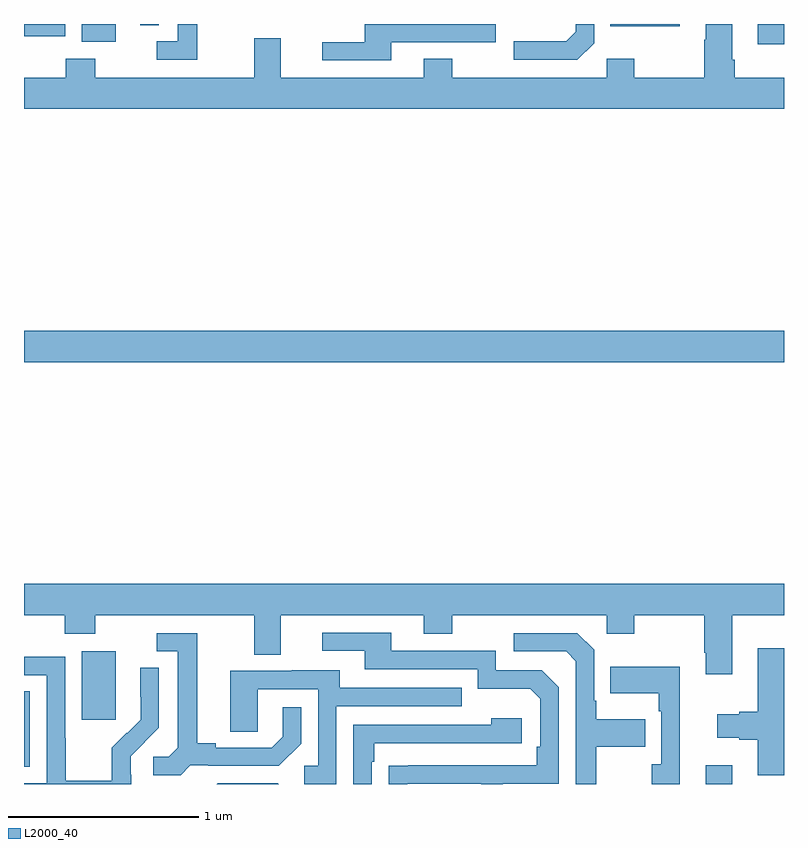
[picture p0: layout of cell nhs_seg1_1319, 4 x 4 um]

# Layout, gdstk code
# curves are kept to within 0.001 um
import gdstk
lib = gdstk.Library(unit=1e-6, precision=1e-09)
def R(c, l, rs):  # rectangles x0, y0, x1, y1
    for r in rs: c.add(gdstk.rectangle(r[:2], r[2:], *l))
def P(c, l, *ps):  # polygons
    for p in ps: c.add(gdstk.Polygon(p, *l))
L2000_40 = (2000, 40)

nhs_seg1_1319 = lib.new_cell('nhs_seg1_1319')
R(nhs_seg1_1319, L2000_40, [(186.587,528.199,186.727,528.298), (183,528.289,183.031,528.686), (183.305,528.537,183.484,528.898), (183,530.42,187,530.584), (186.863,532.092,187,532.199), (183.305,532.106,183.484,532.199), (183,532.135,183.216,532.199), (186.085,532.187,186.452,532.199), (183.612,532.192,183.708,532.199)])
P(nhs_seg1_1319, L2000_40, [(187,531.916),(186.74,531.916),(186.74,532.012),(186.727,532.012),(186.727,532.199),(186.587,532.199),(186.587,532.115),(186.58,532.115),(186.58,531.916),(186.213,531.916),(186.213,532.015),(186.066,532.015),(186.066,531.916),(185.253,531.916),(185.253,532.015),(185.105,532.015),(185.105,531.916),(184.351,531.916),(184.351,532.124),(184.211,532.124),(184.211,531.916),(183.375,531.916),(183.375,532.015),(183.22,532.015),(183.22,531.916),(183,531.916),(183,531.752),(187,531.752)],
  [(186,532.098),(186,532.199),(185.904,532.199),(185.904,532.158),(185.853,532.107),(185.577,532.107),(185.577,532.011),(185.913,532.011)],
  [(184.933,532.104),(185.484,532.104),(185.484,532.199),(184.793,532.199),(184.793,532.104),(184.569,532.104),(184.569,532.008),(184.933,532.008)],
  [(183.913,532.199),(183.809,532.199),(183.809,532.107),(183.699,532.107),(183.699,532.011),(183.913,532.011)],
  [(186.727,529.088),(187,529.088),(187,529.252),(183,529.252),(183,529.088),(183.215,529.088),(183.215,528.989),(183.375,528.989),(183.375,529.088),(184.211,529.088),(184.211,528.88),(184.351,528.88),(184.351,529.088),(185.105,529.088),(185.105,528.989),(185.253,528.989),(185.253,529.088),(186.066,529.088),(186.066,528.989),(186.213,528.989),(186.213,529.088),(186.58,529.088),(186.58,528.889),(186.587,528.889),(186.587,528.777),(186.727,528.777)],
  [(185.017,528.201),(185.407,528.201),(185.407,528.199),(185.519,528.199),(185.519,528.201),(185.814,528.201),(185.814,528.708),(185.724,528.798),(185.484,528.798),(185.484,528.9),(184.933,528.9),(184.933,528.996),(184.569,528.996),(184.569,528.9),(184.793,528.9),(184.793,528.804),(185.388,528.804),(185.388,528.701),(185.665,528.701),(185.718,528.648),(185.718,528.394),(185.698,528.394),(185.698,528.297),(184.921,528.296),(184.921,528.199),(185.017,528.199)],
  [(186.013,528.394),(186.269,528.394),(186.269,528.541),(186.013,528.541),(186.013,528.637),(186,528.637),(186,528.906),(185.913,528.993),(185.577,528.993),(185.577,528.897),(185.853,528.897),(185.904,528.846),(185.904,528.199),(186.013,528.199)],
  [(183.876,528.297),(183.97,528.297),(183.97,528.294),(184.342,528.294),(184.458,528.41),(184.458,528.604),(184.361,528.604),(184.361,528.447),(184.304,528.39),(184.009,528.39),(184.009,528.413),(183.913,528.413),(183.913,528.993),(183.699,528.993),(183.699,528.897),(183.809,528.897),(183.809,528.389),(183.762,528.342),(183.681,528.342),(183.681,528.245),(183.824,528.245)],
  [(187,528.913),(186.863,528.913),(186.863,528.578),(186.764,528.578),(186.764,528.565),(186.648,528.565),(186.648,528.443),(186.764,528.443),(186.764,528.431),(186.863,528.431),(186.863,528.246),(187,528.246)],
  [(183.564,528.249),(183.562,528.249),(183.562,528.346),(183.708,528.494),(183.708,528.812),(183.612,528.812),(183.612,528.658),(183.614,528.658),(183.614,528.536),(183.543,528.465),(183.54,528.468),(183.463,528.391),(183.463,528.217),(183.219,528.217),(183.219,528.44),(183.216,528.44),(183.216,528.87),(183,528.87),(183,528.771),(183.12,528.771),(183.12,528.204),(183,528.204),(183,528.199),(183.564,528.199)],
  [(186.452,528.817),(186.085,528.817),(186.085,528.677),(186.342,528.677),(186.342,528.581),(186.354,528.581),(186.354,528.302),(186.303,528.302),(186.303,528.199),(186.452,528.199)],
  [(184.644,528.609),(185.303,528.609),(185.303,528.705),(184.663,528.705),(184.663,528.799),(184.409,528.799),(184.409,528.795),(184.085,528.795),(184.085,528.475),(184.23,528.475),(184.23,528.699),(184.548,528.699),(184.548,528.294),(184.476,528.294),(184.476,528.199),(184.644,528.199)],
  [(184.83,528.317),(184.843,528.317),(184.843,528.414),(185.62,528.414),(185.62,528.544),(185.459,528.544),(185.459,528.51),(184.734,528.51),(184.734,528.199),(184.83,528.199)],
  [(184.335,528.204),(184.02,528.204),(184.015,528.199),(184.34,528.199)])

lib.write_gds('nhs_seg1_1319.gds')
